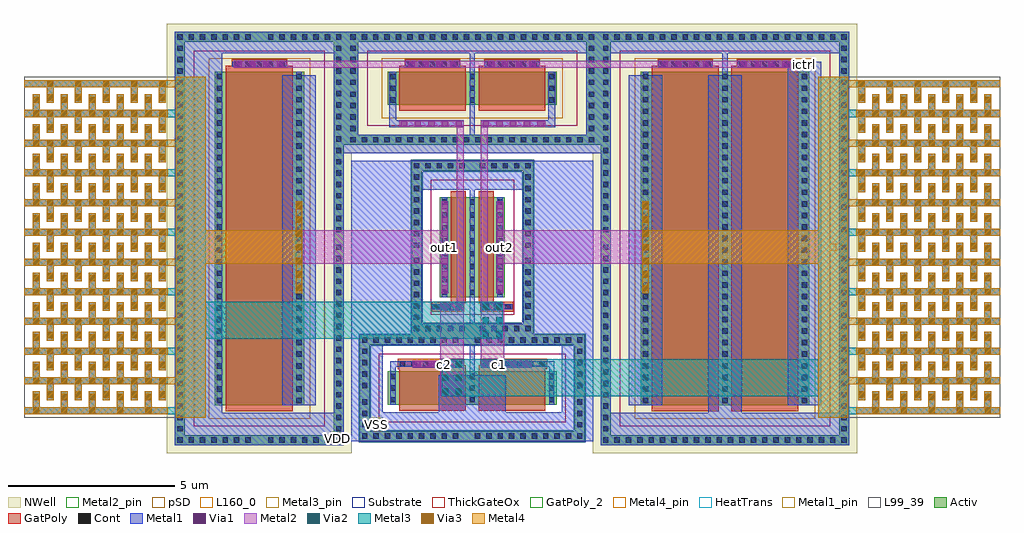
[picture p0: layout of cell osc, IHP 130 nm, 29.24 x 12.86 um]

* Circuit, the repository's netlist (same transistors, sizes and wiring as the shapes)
* NGSPICE file created from osc.ext - technology: ihp-sg13cmos5l

.subckt osc VSS VDD ictrl c2 c1 out1 out2
X0 VDD ictrl c2 VDD sg13_hv_pmos ad=0.19p pd=1.38u as=0.34p ps=2.68u w=1u l=2u
X1 VSS c2 out1 VSS sg13_hv_nmos ad=0.57p pd=3.38u as=1.02p ps=6.68u w=3u l=0.45u
X2 out1 ictrl VDD VDD sg13_hv_pmos ad=3.4p pd=20.68u as=3.4p ps=20.68u w=10u l=2u
X3 VSS c2 c2 VSS sg13_hv_nmos ad=0.19p pd=1.38u as=0.34p ps=2.68u w=1u l=2u
X4 VDD ictrl out2 VDD sg13_hv_pmos ad=1.9p pd=10.38u as=3.4p ps=20.68u w=10u l=2u
X5 ictrl ictrl VDD VDD sg13_hv_pmos ad=3.4p pd=20.68u as=1.9p ps=10.38u w=10u l=2u
X6 c1 ictrl VDD VDD sg13_hv_pmos ad=0.34p pd=2.68u as=0.19p ps=1.38u w=1u l=2u
X7 c1 c1 VSS VSS sg13_hv_nmos ad=0.34p pd=2.68u as=0.19p ps=1.38u w=1u l=2u
X8 out2 c1 VSS VSS sg13_hv_nmos ad=1.02p pd=6.68u as=0.57p ps=3.38u w=3u l=0.45u
.ends

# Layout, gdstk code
from math import pi, radians
import gdstk
lib = gdstk.Library(unit=1e-6, precision=1e-09)
def R(c, l, rs):  # rectangles x0, y0, x1, y1
    for r in rs: c.add(gdstk.rectangle(r[:2], r[2:], *l))
def A(c, l, x, y, w, h, nx, ny, dx, dy):  # array of equal rectangles
    R(c, l, [(x+i*dx, y+j*dy, x+i*dx+w, y+j*dy+h) for i in range(nx) for j in range(ny)])
def P(c, l, *ps):  # polygons
    for p in ps: c.add(gdstk.Polygon(p, *l))
Activ = (1, 0)
GatPoly = (5, 0)
GatPoly_2 = (5, 2)
Cont = (6, 0)
Metal1 = (8, 0)
Metal1_pin = (8, 2)
Metal2 = (10, 0)
Metal2_pin = (10, 2)
pSD = (14, 0)
Via1 = (19, 0)
Via2 = (29, 0)
Metal3 = (30, 0)
Metal3_pin = (30, 2)
NWell = (31, 0)
Substrate = (40, 0)
ThickGateOx = (44, 0)
Via3 = (49, 0)
Metal4 = (50, 0)
Metal4_pin = (50, 2)
HeatTrans = (51, 0)
L99_39 = (99, 39)
L160_0 = (160, 0)

pmoshv_3 = lib.new_cell('pmosHV$3')
A(pmoshv_3, Activ, 0, 0, 0.3, 0.3, 3, 1, 2.38, 0)
R(pmoshv_3, Activ, [(-1.19,-0.89,-0.89,1.89), (5.95,-0.89,6.25,1.89), (0,0,5.06,1), (-1.19,1.89,6.25,2.19)])
P(pmoshv_3, Activ, [(-1.19,-1.19),(-1.19,1.89),(-0.89,1.89),(-0.89,-0.89),(5.95,-0.89),(5.95,1.89),(-1.19,1.89),(-1.19,2.19),(6.25,2.19),(6.25,-1.19)])
R(pmoshv_3, GatPoly, [(0.34,-0.18,2.34,1.18), (2.72,-0.18,4.72,1.18)])
R(pmoshv_3, GatPoly_2, [(0.34,-0.18,2.34,1.18)])
A(pmoshv_3, Cont, -1.12, -1.12, 0.16, 0.16, 22, 2, 0.34, 3.08)
A(pmoshv_3, Cont, -1.12, -0.78, 0.16, 0.16, 1, 4, 0, 0.34)
A(pmoshv_3, Cont, 6.02, -0.78, 0.16, 0.16, 1, 4, 0, 0.34)
A(pmoshv_3, Cont, 0.07, 0.07, 0.16, 0.16, 3, 3, 2.38, 0.35)
A(pmoshv_3, Cont, -1.12, 0.6, 0.16, 0.16, 1, 4, 0, 0.34)
A(pmoshv_3, Cont, 6.02, 0.6, 0.16, 0.16, 1, 4, 0, 0.34)
A(pmoshv_3, Metal1, 0.07, 0, 0.16, 1, 3, 1, 2.38, 0)
R(pmoshv_3, Metal1, [(-1.19,-1.19,6.25,-0.89), (-1.19,-0.89,-0.89,1.89), (5.95,-0.89,6.25,1.89), (-1.19,1.89,6.25,2.19)])
R(pmoshv_3, Metal1_pin, [(0.07,0,0.23,1), (2.45,0,2.61,1)])
R(pmoshv_3, pSD, [(-0.18,-0.4,5.24,1.4)])
R(pmoshv_3, NWell, [(-1.43,-1.43,6.49,2.43), (-0.62,-0.62,5.68,1.62)])
R(pmoshv_3, ThickGateOx, [(-0.62,-0.62,5.68,1.62)])
R(pmoshv_3, HeatTrans, [(0.34,-0.18,2.34,1.18), (2.72,-0.18,4.72,1.18)])
pmoshv_3.add(gdstk.Label('pmosHV', (1.34,0.5), layer=63, texttype=0))
pmoshv_3.add(gdstk.Label('well', (2.53,-1.04), layer=63, texttype=0))
pmoshv_3.add(gdstk.Label('pmos', (1.34,0.5), layer=51, texttype=0))
pmoshv_3.add(gdstk.Label('pmos', (3.72,0.5), layer=51, texttype=0))

nmoshv = lib.new_cell('nmosHV')
A(nmoshv, Activ, 0, 0, 0.3, 0.3, 3, 1, 2.38, 0)
R(nmoshv, Activ, [(-0.84,-0.79,-0.54,1.79), (5.6,-0.79,5.9,1.79), (0,0,5.06,1), (-0.84,1.79,5.9,2.09)])
P(nmoshv, Activ, [(-0.84,-1.09),(-0.84,1.79),(-0.54,1.79),(-0.54,-0.79),(5.6,-0.79),(5.6,1.79),(-0.84,1.79),(-0.84,2.09),(5.9,2.09),(5.9,-1.09)])
R(nmoshv, GatPoly, [(0.34,-0.18,2.34,1.18), (2.72,-0.18,4.72,1.18)])
R(nmoshv, GatPoly_2, [(0.34,-0.18,2.34,1.18)])
A(nmoshv, Cont, -0.77, -1.02, 0.16, 0.16, 9, 2, 0.34, 2.88)
A(nmoshv, Cont, 2.61, -1.02, 0.16, 0.16, 10, 2, 0.34, 2.88)
A(nmoshv, Cont, -0.77, -0.68, 0.16, 0.16, 1, 3, 0, 0.34)
A(nmoshv, Cont, 5.67, -0.68, 0.16, 0.16, 1, 3, 0, 0.34)
A(nmoshv, Cont, 0.07, 0.07, 0.16, 0.16, 3, 3, 2.38, 0.35)
A(nmoshv, Cont, -0.77, 0.5, 0.16, 0.16, 1, 4, 0, 0.34)
A(nmoshv, Cont, 5.67, 0.5, 0.16, 0.16, 1, 4, 0, 0.34)
A(nmoshv, Metal1, 0.07, 0, 0.16, 1, 3, 1, 2.38, 0)
R(nmoshv, Metal1, [(-0.84,-1.09,5.9,-0.79), (-0.84,-0.79,-0.54,1.79), (5.6,-0.79,5.9,1.79), (-0.84,1.79,5.9,2.09)])
R(nmoshv, Metal1_pin, [(0.07,0,0.23,1), (2.45,0,2.61,1)])
R(nmoshv, pSD, [(-0.87,-0.76,-0.51,1.76), (5.57,-0.76,5.93,1.76), (-0.87,1.76,5.93,2.12)])
P(nmoshv, pSD, [(-0.87,-1.12),(-0.87,1.76),(-0.51,1.76),(-0.51,-0.76),(5.57,-0.76),(5.57,1.76),(-0.87,1.76),(-0.87,2.12),(5.93,2.12),(5.93,-1.12)])
R(nmoshv, Substrate, [(-0.87,-0.76,-0.51,1.76), (5.57,-0.76,5.93,1.76), (-0.87,1.76,5.93,2.12)])
P(nmoshv, Substrate, [(-0.87,-1.12),(-0.87,1.76),(-0.51,1.76),(-0.51,-0.76),(5.57,-0.76),(5.57,1.76),(-0.87,1.76),(-0.87,2.12),(5.93,2.12),(5.93,-1.12)])
R(nmoshv, ThickGateOx, [(-0.27,-0.52,5.33,1.52)])
R(nmoshv, HeatTrans, [(0.34,-0.18,2.34,1.18), (2.72,-0.18,4.72,1.18)])
nmoshv.add(gdstk.Label('nmosHV', (1.34,0.5), layer=63, texttype=0))
nmoshv.add(gdstk.Label('sub!', (2.53,-0.94), layer=63, texttype=0))
nmoshv.add(gdstk.Label('nmosHV', (1.34,0.5), layer=51, texttype=0))
nmoshv.add(gdstk.Label('nmosHV', (3.72,0.5), layer=51, texttype=0))

pmoshv_1 = lib.new_cell('pmosHV$1')
A(pmoshv_1, Activ, 0, 0, 0.3, 0.3, 3, 1, 2.38, 0)
R(pmoshv_1, Activ, [(-1.19,-0.89,-0.89,10.89), (5.95,-0.89,6.25,10.89), (0,0,5.06,10), (-1.19,10.89,6.25,11.19)])
P(pmoshv_1, Activ, [(-1.19,-1.19),(-1.19,10.89),(-0.89,10.89),(-0.89,-0.89),(5.95,-0.89),(5.95,10.89),(-1.19,10.89),(-1.19,11.19),(6.25,11.19),(6.25,-1.19)])
R(pmoshv_1, GatPoly, [(0.34,-0.18,2.34,10.18), (2.72,-0.18,4.72,10.18)])
R(pmoshv_1, GatPoly_2, [(0.34,-0.18,2.34,10.18)])
A(pmoshv_1, Cont, -1.12, -1.12, 0.16, 0.16, 22, 2, 0.34, 12.08)
A(pmoshv_1, Cont, -1.12, -0.78, 0.16, 0.16, 1, 17, 0, 0.34)
A(pmoshv_1, Cont, 6.02, -0.78, 0.16, 0.16, 1, 17, 0, 0.34)
A(pmoshv_1, Cont, 0.07, 0.07, 0.16, 0.16, 3, 4, 2.38, 0.345)
A(pmoshv_1, Cont, 0.07, 1.455, 0.16, 0.16, 3, 3, 2.38, 0.345)
A(pmoshv_1, Cont, 0.07, 2.495, 0.16, 0.16, 3, 4, 2.38, 0.345)
A(pmoshv_1, Cont, 0.07, 3.88, 0.16, 0.16, 3, 3, 2.38, 0.345)
A(pmoshv_1, Cont, 0.07, 4.92, 0.16, 0.16, 3, 4, 2.38, 0.345)
A(pmoshv_1, Cont, -1.12, 5.18, 0.16, 0.16, 1, 17, 0, 0.34)
A(pmoshv_1, Cont, 6.02, 5.18, 0.16, 0.16, 1, 17, 0, 0.34)
A(pmoshv_1, Cont, 0.07, 6.305, 0.16, 0.16, 3, 3, 2.38, 0.345)
A(pmoshv_1, Cont, 0.07, 7.345, 0.16, 0.16, 3, 4, 2.38, 0.345)
A(pmoshv_1, Cont, 0.07, 8.73, 0.16, 0.16, 3, 3, 2.38, 0.345)
A(pmoshv_1, Cont, 0.07, 9.77, 0.16, 0.16, 3, 1, 2.38, 0)
A(pmoshv_1, Metal1, 0.07, 0, 0.16, 10, 3, 1, 2.38, 0)
R(pmoshv_1, Metal1, [(-1.19,-1.19,6.25,-0.89), (-1.19,-0.89,-0.89,10.89), (5.95,-0.89,6.25,10.89), (-1.19,10.89,6.25,11.19)])
R(pmoshv_1, Metal1_pin, [(0.07,0,0.23,10), (2.45,0,2.61,10)])
R(pmoshv_1, pSD, [(-0.18,-0.4,5.24,10.4)])
R(pmoshv_1, NWell, [(-1.43,-1.43,6.49,11.43), (-0.62,-0.62,5.68,10.62)])
R(pmoshv_1, ThickGateOx, [(-0.62,-0.62,5.68,10.62)])
R(pmoshv_1, HeatTrans, [(0.34,-0.18,2.34,10.18), (2.72,-0.18,4.72,10.18)])
pmoshv_1.add(gdstk.Label('pmosHV', (1.34,5), layer=63, texttype=0))
pmoshv_1.add(gdstk.Label('well', (2.53,-1.04), layer=63, texttype=0))
pmoshv_1.add(gdstk.Label('pmos', (1.34,5), layer=51, texttype=0))
pmoshv_1.add(gdstk.Label('pmos', (3.72,5), layer=51, texttype=0))

cap_cmomi = lib.new_cell('cap_cmomi')
A(cap_cmomi, Metal1, -1.575, -5, 4.3, 0.21, 1, 12, 0, 0.89)
A(cap_cmomi, Metal1, -1.525, -4.895, 0.21, 0.575, 5, 11, 0.84, 0.89)
A(cap_cmomi, Metal1, -1.105, -4.58, 0.21, 0.575, 5, 11, 0.84, 0.89)
A(cap_cmomi, Metal2, -1.575, -5, 4.3, 0.21, 1, 12, 0, 0.89)
A(cap_cmomi, Metal2, -1.525, -4.895, 0.21, 0.575, 5, 11, 0.84, 0.89)
A(cap_cmomi, Metal2, -1.105, -4.58, 0.21, 0.575, 5, 11, 0.84, 0.89)
A(cap_cmomi, Via1, -1.515, -4.99, 0.19, 0.19, 5, 2, 0.84, 0.41)
A(cap_cmomi, Via1, -1.095, -4.51, 0.19, 0.19, 5, 11, 0.84, 0.89)
A(cap_cmomi, Via1, -1.515, -4.1, 0.19, 0.19, 10, 10, 0.42, 0.89)
A(cap_cmomi, Via1, -1.515, -3.69, 0.19, 0.19, 5, 10, 0.84, 0.89)
A(cap_cmomi, Via1, -1.095, 4.8, 0.19, 0.19, 5, 1, 0.84, 0)
A(cap_cmomi, Via2, -1.515, -4.99, 0.19, 0.19, 5, 2, 0.84, 0.41)
A(cap_cmomi, Via2, -1.095, -4.51, 0.19, 0.19, 5, 11, 0.84, 0.89)
A(cap_cmomi, Via2, -1.515, -4.1, 0.19, 0.19, 10, 10, 0.42, 0.89)
A(cap_cmomi, Via2, -1.515, -3.69, 0.19, 0.19, 5, 10, 0.84, 0.89)
A(cap_cmomi, Via2, -1.095, 4.8, 0.19, 0.19, 5, 1, 0.84, 0)
A(cap_cmomi, Metal3, -1.575, -5, 4.3, 0.21, 1, 6, 0, 1.78)
A(cap_cmomi, Metal3, -1.525, -4.895, 0.21, 0.575, 5, 11, 0.84, 0.89)
A(cap_cmomi, Metal3, -1.105, -4.58, 0.21, 0.575, 5, 11, 0.84, 0.89)
A(cap_cmomi, Metal3, -2.725, -4.11, 5.45, 0.21, 1, 6, 0, 1.78)
R(cap_cmomi, Metal3, [(-2.725,-5.105,-1.825,5.105)])
R(cap_cmomi, Metal3_pin, [(-2.375,-0.105,-2.175,0.105)])
A(cap_cmomi, Via3, -1.515, -4.99, 0.19, 0.19, 5, 2, 0.84, 0.41)
A(cap_cmomi, Via3, -1.095, -4.51, 0.19, 0.19, 5, 11, 0.84, 0.89)
A(cap_cmomi, Via3, -1.515, -4.1, 0.19, 0.19, 10, 10, 0.42, 0.89)
A(cap_cmomi, Via3, -1.515, -3.69, 0.19, 0.19, 5, 10, 0.84, 0.89)
A(cap_cmomi, Via3, -1.095, 4.8, 0.19, 0.19, 5, 1, 0.84, 0)
A(cap_cmomi, Metal4, -2.725, -5, 5.45, 0.21, 1, 6, 0, 1.78)
A(cap_cmomi, Metal4, -1.525, -4.895, 0.21, 0.575, 5, 11, 0.84, 0.89)
A(cap_cmomi, Metal4, -1.105, -4.58, 0.21, 0.575, 5, 11, 0.84, 0.89)
A(cap_cmomi, Metal4, -1.575, -4.11, 4.3, 0.21, 1, 6, 0, 1.78)
R(cap_cmomi, Metal4, [(-2.725,-5.105,-1.825,5.105)])
R(cap_cmomi, Metal4_pin, [(-2.375,-0.105,-2.175,0.105)])
R(cap_cmomi, L99_39, [(-2.725,-5.105,2.725,5.105)])
R(cap_cmomi, L160_0, [(-2.725,-5.105,2.725,5.105)])
cap_cmomi.add(gdstk.Label('C=46.569fF', (0.575,0), layer=63, texttype=0))
cap_cmomi.add(gdstk.Label('cap_cmomi', (0.575,0), layer=63, texttype=0))

via_stack_5 = lib.new_cell('via_stack$5')
R(via_stack_5, Metal1, [(-0.105,-0.76,0.105,0.76)])
R(via_stack_5, Metal2, [(-0.1,-0.76,0.1,0.76)])
A(via_stack_5, Via1, -0.095, -0.71, 0.19, 0.19, 1, 4, 0, 0.41)

via_stack = lib.new_cell('via_stack')
R(via_stack, GatPoly, [(-0.15,-1,0.15,1)])
A(via_stack, Cont, -0.08, -0.93, 0.16, 0.16, 1, 6, 0, 0.34)
R(via_stack, Metal1, [(-0.08,-0.98,0.08,0.98)])

nmoshv_3 = lib.new_cell('nmosHV$3')
A(nmoshv_3, Activ, 0, 0, 0.3, 0.3, 3, 1, 0.83, 0)
R(nmoshv_3, Activ, [(-0.84,-0.79,-0.54,3.79), (2.5,-0.79,2.8,3.79), (0,0,1.96,3), (-0.84,3.79,2.8,4.09)])
P(nmoshv_3, Activ, [(-0.84,-1.09),(-0.84,3.79),(-0.54,3.79),(-0.54,-0.79),(2.5,-0.79),(2.5,3.79),(-0.84,3.79),(-0.84,4.09),(2.8,4.09),(2.8,-1.09)])
R(nmoshv_3, GatPoly, [(0.34,-0.18,0.79,3.18), (1.17,-0.18,1.62,3.18)])
R(nmoshv_3, GatPoly_2, [(0.34,-0.18,0.79,3.18)])
A(nmoshv_3, Cont, -0.77, -1.02, 0.16, 0.16, 5, 2, 0.34, 4.88)
A(nmoshv_3, Cont, 1.21, -1.02, 0.16, 0.16, 5, 2, 0.34, 4.88)
A(nmoshv_3, Cont, -0.77, -0.68, 0.16, 0.16, 1, 6, 0, 0.34)
A(nmoshv_3, Cont, 2.57, -0.68, 0.16, 0.16, 1, 6, 0, 0.34)
A(nmoshv_3, Cont, 0.07, 0.07, 0.16, 0.16, 3, 7, 0.83, 0.385)
A(nmoshv_3, Cont, -0.77, 1.48, 0.16, 0.16, 1, 7, 0, 0.34)
A(nmoshv_3, Cont, 2.57, 1.48, 0.16, 0.16, 1, 7, 0, 0.34)
A(nmoshv_3, Cont, 0.07, 2.77, 0.16, 0.16, 3, 1, 0.83, 0)
A(nmoshv_3, Metal1, 0.07, 0, 0.16, 3, 3, 1, 0.83, 0)
R(nmoshv_3, Metal1, [(-0.84,-1.09,2.8,-0.79), (-0.84,-0.79,-0.54,3.79), (2.5,-0.79,2.8,3.79), (-0.84,3.79,2.8,4.09)])
R(nmoshv_3, Metal1_pin, [(0.07,0,0.23,3), (0.9,0,1.06,3)])
R(nmoshv_3, pSD, [(-0.87,-0.76,-0.51,3.76), (2.47,-0.76,2.83,3.76), (-0.87,3.76,2.83,4.12)])
P(nmoshv_3, pSD, [(-0.87,-1.12),(-0.87,3.76),(-0.51,3.76),(-0.51,-0.76),(2.47,-0.76),(2.47,3.76),(-0.87,3.76),(-0.87,4.12),(2.83,4.12),(2.83,-1.12)])
R(nmoshv_3, Substrate, [(-0.87,-0.76,-0.51,3.76), (2.47,-0.76,2.83,3.76), (-0.87,3.76,2.83,4.12)])
P(nmoshv_3, Substrate, [(-0.87,-1.12),(-0.87,3.76),(-0.51,3.76),(-0.51,-0.76),(2.47,-0.76),(2.47,3.76),(-0.87,3.76),(-0.87,4.12),(2.83,4.12),(2.83,-1.12)])
R(nmoshv_3, ThickGateOx, [(-0.27,-0.52,2.23,3.52)])
R(nmoshv_3, HeatTrans, [(0.34,-0.18,0.79,3.18), (1.17,-0.18,1.62,3.18)])
nmoshv_3.add(gdstk.Label('nmosHV', (0.565,1.5), layer=63, texttype=0))
nmoshv_3.add(gdstk.Label('sub!', (0.98,-0.94), layer=63, texttype=0))
nmoshv_3.add(gdstk.Label('nmosHV', (0.565,1.5), layer=51, texttype=0))
nmoshv_3.add(gdstk.Label('nmosHV', (1.395,1.5), layer=51, texttype=0))

via_stack_1 = lib.new_cell('via_stack$1')
R(via_stack_1, GatPoly, [(-0.15,-0.49,0.15,0.49)])
A(via_stack_1, Cont, -0.08, -0.42, 0.16, 0.16, 1, 3, 0, 0.34)
R(via_stack_1, Metal1, [(-0.08,-0.47,0.08,0.47)])

via_stack_2 = lib.new_cell('via_stack$2')
R(via_stack_2, Metal1, [(-1.375,-0.105,1.375,0.105)])
R(via_stack_2, Metal2, [(-1.375,-0.1,1.375,0.1)])
A(via_stack_2, Via1, -1.325, -0.095, 0.19, 0.19, 7, 1, 0.41, 0)

via_stack_11 = lib.new_cell('via_stack$11')
R(via_stack_11, Metal1, [(-0.965,-0.105,0.965,0.105)])
R(via_stack_11, Metal2, [(-0.965,-0.1,0.965,0.1)])
A(via_stack_11, Via1, -0.915, -0.095, 0.19, 0.19, 5, 1, 0.41, 0)

via_stack_12 = lib.new_cell('via_stack$12')
R(via_stack_12, Metal1, [(-1.375,-0.105,1.375,0.105)])
R(via_stack_12, Metal2, [(-1.375,-0.1,1.375,0.1)])
A(via_stack_12, Via1, -1.325, -0.095, 0.19, 0.19, 7, 1, 0.41, 0)
A(via_stack_12, Via2, -1.325, -0.095, 0.19, 0.19, 7, 1, 0.41, 0)
R(via_stack_12, Metal3, [(-1.375,-0.1,1.375,0.1)])
A(via_stack_12, Via3, -1.325, -0.095, 0.19, 0.19, 7, 1, 0.41, 0)
R(via_stack_12, Metal4, [(-1.375,-0.1,1.375,0.1)])

pmoshv = lib.new_cell('pmosHV')
R(pmoshv, Activ, [(-1.19,-0.89,-0.89,10.89), (3.57,-0.89,3.87,10.89), (0,0,0.3,0.3), (0,0,2.68,10), (2.38,0,2.68,0.3), (-1.19,10.89,3.87,11.19)])
P(pmoshv, Activ, [(-1.19,-1.19),(-1.19,10.89),(-0.89,10.89),(-0.89,-0.89),(3.57,-0.89),(3.57,10.89),(-1.19,10.89),(-1.19,11.19),(3.87,11.19),(3.87,-1.19)])
R(pmoshv, GatPoly, [(0.34,-0.18,2.34,10.18)])
R(pmoshv, GatPoly_2, [(0.34,-0.18,2.34,10.18)])
A(pmoshv, Cont, -1.12, -1.12, 0.16, 0.16, 7, 2, 0.34, 12.08)
A(pmoshv, Cont, 1.6, -1.12, 0.16, 0.16, 7, 2, 0.34, 12.08)
A(pmoshv, Cont, -1.12, -0.78, 0.16, 0.16, 1, 17, 0, 0.34)
A(pmoshv, Cont, 3.64, -0.78, 0.16, 0.16, 1, 17, 0, 0.34)
A(pmoshv, Cont, 0.07, 0.07, 0.16, 0.16, 1, 4, 0, 0.345)
A(pmoshv, Cont, 2.45, 0.07, 0.16, 0.16, 1, 4, 0, 0.345)
A(pmoshv, Cont, 0.07, 1.455, 0.16, 0.16, 1, 3, 0, 0.345)
A(pmoshv, Cont, 2.45, 1.455, 0.16, 0.16, 1, 3, 0, 0.345)
A(pmoshv, Cont, 0.07, 2.495, 0.16, 0.16, 1, 4, 0, 0.345)
A(pmoshv, Cont, 2.45, 2.495, 0.16, 0.16, 1, 4, 0, 0.345)
A(pmoshv, Cont, 0.07, 3.88, 0.16, 0.16, 1, 3, 0, 0.345)
A(pmoshv, Cont, 2.45, 3.88, 0.16, 0.16, 1, 3, 0, 0.345)
A(pmoshv, Cont, 0.07, 4.92, 0.16, 0.16, 1, 4, 0, 0.345)
A(pmoshv, Cont, 2.45, 4.92, 0.16, 0.16, 1, 4, 0, 0.345)
A(pmoshv, Cont, -1.12, 5.18, 0.16, 0.16, 1, 17, 0, 0.34)
A(pmoshv, Cont, 3.64, 5.18, 0.16, 0.16, 1, 17, 0, 0.34)
A(pmoshv, Cont, 0.07, 6.305, 0.16, 0.16, 1, 3, 0, 0.345)
A(pmoshv, Cont, 2.45, 6.305, 0.16, 0.16, 1, 3, 0, 0.345)
A(pmoshv, Cont, 0.07, 7.345, 0.16, 0.16, 1, 4, 0, 0.345)
A(pmoshv, Cont, 2.45, 7.345, 0.16, 0.16, 1, 4, 0, 0.345)
A(pmoshv, Cont, 0.07, 8.73, 0.16, 0.16, 1, 3, 0, 0.345)
A(pmoshv, Cont, 2.45, 8.73, 0.16, 0.16, 1, 3, 0, 0.345)
R(pmoshv, Cont, [(0.07,9.77,0.23,9.93), (2.45,9.77,2.61,9.93)])
R(pmoshv, Metal1, [(-1.19,-1.19,3.87,-0.89), (-1.19,-0.89,-0.89,10.89), (3.57,-0.89,3.87,10.89), (0.07,0,0.23,10), (2.45,0,2.61,10), (-1.19,10.89,3.87,11.19)])
R(pmoshv, Metal1_pin, [(0.07,0,0.23,10), (2.45,0,2.61,10)])
R(pmoshv, pSD, [(-0.18,-0.4,2.86,10.4)])
R(pmoshv, NWell, [(-1.43,-1.43,4.11,11.43), (-0.62,-0.62,3.3,10.62)])
R(pmoshv, ThickGateOx, [(-0.62,-0.62,3.3,10.62)])
R(pmoshv, HeatTrans, [(0.34,-0.18,2.34,10.18)])
pmoshv.add(gdstk.Label('pmosHV', (1.34,5), layer=63, texttype=0))
pmoshv.add(gdstk.Label('well', (1.34,-1.04), layer=63, texttype=0))
pmoshv.add(gdstk.Label('pmos', (1.34,5), layer=51, texttype=0))

via_stack_9 = lib.new_cell('via_stack$9')
R(via_stack_9, Metal1, [(-0.76,-0.105,0.76,0.105)])
R(via_stack_9, Metal2, [(-0.76,-0.1,0.76,0.1)])
A(via_stack_9, Via1, -0.71, -0.095, 0.19, 0.19, 4, 1, 0.41, 0)

via_stack_6 = lib.new_cell('via_stack$6')
R(via_stack_6, GatPoly, [(-0.15,-0.83,0.15,0.83)])
A(via_stack_6, Cont, -0.08, -0.76, 0.16, 0.16, 1, 5, 0, 0.34)
R(via_stack_6, Metal1, [(-0.08,-0.81,0.08,0.81)])

via_stack_4 = lib.new_cell('via_stack$4')
R(via_stack_4, Metal1, [(-0.105,-0.35,0.105,0.35)])
R(via_stack_4, Metal2, [(-0.1,-0.35,0.1,0.35)])
R(via_stack_4, Via1, [(-0.095,-0.3,0.095,-0.11), (-0.095,0.11,0.095,0.3)])

via_stack_7 = lib.new_cell('via_stack$7')
R(via_stack_7, Metal2, [(-0.555,-0.305,0.555,0.305)])
A(via_stack_7, Via2, -0.505, -0.3, 0.19, 0.19, 3, 2, 0.41, 0.41)
R(via_stack_7, Metal3, [(-0.555,-0.305,0.555,0.305)])

osc = lib.new_cell('osc')
R(osc, Activ, [(17.76,3.54,21.4,3.58), (15.73,9.24,15.86,12.62), (23.3,9.24,23.43,12.62)])
R(osc, Metal1, [(15.95,0.36,16.9,3.54), (22.26,0.36,23.21,3.54), (10.97,0.54,12.09,12.32), (12.09,0.54,15.43,1.21), (23.73,0.54,30.57,1.21), (27.07,0.54,27.23,12.32), (16.51,0.66,22.65,1.23), (19.5,0.66,19.66,3.24), (18.58,1.23,20.58,2.34), (15.95,3.54,17.76,8.76), (17.76,3.54,21.4,3.58), (21.4,3.54,23.21,8.76), (19.5,3.88,19.66,8.46), (18.06,7.89,21.1,8.46), (15.73,8.98,23.43,9.24), (15.73,9.24,15.86,12.62), (23.3,9.24,23.43,12.62), (19.5,9.54,19.66,12.32), (10.97,11.98,30.57,12.32)])
R(osc, Metal1_pin, [(15.33,0.24,15.73,0.64), (16.51,0.66,16.91,1.06), (29.45,11.57,29.61,11.73)])
R(osc, Metal2, [(18.62,1.705,19.32,4.285), (19.84,2.77,20.54,4.285)])
R(osc, Metal2_pin, [(18.65,2.57,18.85,2.77), (20.31,2.57,20.51,2.77), (18.65,6.07,18.85,6.27), (20.31,6.07,20.51,6.27)])
R(osc, Metal3, [(19.27,1.705,29.94,2.815), (11.6,3.42,19.885,4.53)])
osc.add(gdstk.FlexPath([(20.51,6.17),(24.67,6.17)], 1, ends="flush", simple_path=True, layer=10, datatype=0))  # Metal2
osc.add(gdstk.FlexPath([(18.65,6.17),(14.49,6.17)], 1, ends="flush", simple_path=True, layer=10, datatype=0))  # Metal2
osc.add(gdstk.FlexPath([(19.22,9.77),(19.22,4.485)], 0.2, ends="flush", simple_path=True, layer=10, datatype=0))  # Metal2
osc.add(gdstk.FlexPath([(19.94,9.765),(19.94,4.485)], 0.2, ends="flush", simple_path=True, layer=10, datatype=0))  # Metal2
osc.add(gdstk.FlexPath([(13.96,11.65),(27.58,11.65)], 0.2, ends="flush", simple_path=True, layer=10, datatype=0))  # Metal2
osc.add(gdstk.FlexPath([(20.95,9.865),(21.96,9.865),(21.96,11.43)], 0.21, ends="flush", simple_path=True, layer=8, datatype=0))  # Metal1
osc.add(gdstk.FlexPath([(18.21,9.865),(17.2,9.865),(17.2,11.43)], 0.21, ends="flush", simple_path=True, layer=8, datatype=0))  # Metal1
osc.add(gdstk.FlexPath([(24.77,11.32),(24.77,1.43)], 1, ends="flush", simple_path=True, layer=8, datatype=0))  # Metal1
osc.add(gdstk.FlexPath([(27.15,1.21),(27.15,11.32)], 1, ends="flush", simple_path=True, layer=8, datatype=0))  # Metal1
osc.add(gdstk.FlexPath([(29.53,11.73),(29.53,1.43)], 1, ends="flush", simple_path=True, layer=8, datatype=0))  # Metal1
osc.add(gdstk.FlexPath([(14.39,1.43),(14.39,11.32)], 1, ends="flush", simple_path=True, layer=8, datatype=0))  # Metal1
osc.add(gdstk.FlexPath([(17.2,2.45),(17.2,2.67),(17.36,2.67)], 0.16, ends="flush", simple_path=True, layer=8, datatype=0))  # Metal1
osc.add(gdstk.FlexPath([(21.96,2.45),(21.96,2.67),(21.8,2.67)], 0.16, ends="flush", simple_path=True, layer=8, datatype=0))  # Metal1
osc.add(gdstk.FlexPath([(29.15,11.65),(29.53,11.65),(29.53,11.43)], 0.16, ends="flush", simple_path=True, layer=8, datatype=0))  # Metal1
osc.add(gdstk.FlexPath([(14.29,6.17),(11.6,6.17)], 1, ends="flush", simple_path=True, layer=50, datatype=0))  # Metal4
osc.add(gdstk.FlexPath([(24.87,6.17),(29.94,6.17)], 1, ends="flush", simple_path=True, layer=50, datatype=0))  # Metal4
osc.add(gdstk.Reference(pmoshv_3, (17.05,10.43)))
osc.add(gdstk.Reference(nmoshv, (17.05,1.45)))
osc.add(gdstk.Reference(pmoshv_1, (24.62,1.43)))
osc.add(gdstk.Reference(cap_cmomi, (32.665,6.17), x_reflection=True))
osc.add(gdstk.Reference(cap_cmomi, (8.875,6.17), rotation=pi))
osc.add(gdstk.Reference(via_stack_5, (18.56,2.67), rotation=pi/2))
osc.add(gdstk.Reference(via_stack, (20.82,2.67), rotation=pi/2, x_reflection=True))
osc.add(gdstk.Reference(nmoshv_3, (18.6,4.67)))
osc.add(gdstk.Reference(via_stack_1, (18.85,4.385), rotation=pi/2))
osc.add(gdstk.Reference(via_stack_2, (18.75,6.17), rotation=pi/2))
osc.add(gdstk.Reference(via_stack_2, (20.41,6.17), rotation=pi/2))
osc.add(gdstk.Reference(via_stack_1, (20.31,4.385), rotation=pi/2, x_reflection=True))
osc.add(gdstk.Reference(via_stack_5, (20.6,2.67), rotation=pi/2, x_reflection=True))
osc.add(gdstk.Reference(via_stack_11, (18.355,9.865)))
osc.add(gdstk.Reference(via_stack_11, (20.805,9.865), rotation=pi, x_reflection=True))
osc.add(gdstk.Reference(via_stack_12, (14.39,6.17), rotation=pi/2))
osc.add(gdstk.Reference(pmoshv, (11.86,1.43)))
osc.add(gdstk.Reference(via_stack_12, (24.77,6.17), rotation=pi/2, x_reflection=True))
osc.add(gdstk.Reference(via_stack_9, (20.77,11.65), rotation=pi, x_reflection=True))
osc.add(gdstk.Reference(via_stack_9, (18.39,11.65)))
osc.add(gdstk.Reference(via_stack_6, (20.77,11.65), rotation=pi/2))
osc.add(gdstk.Reference(via_stack_6, (18.39,11.65), rotation=pi/2))
osc.add(gdstk.Reference(via_stack_9, (13.2,11.65)))
osc.add(gdstk.Reference(via_stack_6, (13.2,11.65), rotation=pi/2))
osc.add(gdstk.Reference(via_stack_9, (28.34,11.65), rotation=pi, x_reflection=True))
osc.add(gdstk.Reference(via_stack_9, (25.96,11.65)))
osc.add(gdstk.Reference(via_stack_6, (28.34,11.65), rotation=pi/2))
osc.add(gdstk.Reference(via_stack_6, (25.96,11.65), rotation=pi/2))
osc.add(gdstk.Reference(via_stack_4, (20.19,4.385), rotation=pi/2, x_reflection=True))
osc.add(gdstk.Reference(via_stack_4, (18.97,4.385), rotation=pi/2))
osc.add(gdstk.Reference(via_stack, (18.34,2.67), rotation=pi/2))
osc.add(gdstk.Reference(via_stack_7, (18.97,2.26), rotation=pi/2))
osc.add(gdstk.Reference(via_stack_7, (20.19,3.975), rotation=pi/2))
osc.add(gdstk.Label('VSS', (16.71,0.86), layer=8, texttype=25))
osc.add(gdstk.Label('VDD', (15.53,0.44), layer=8, texttype=25))
osc.add(gdstk.Label('ictrl', (29.53,11.65), layer=8, texttype=25))
osc.add(gdstk.Label('c2', (18.75,2.67), layer=10, texttype=25))
osc.add(gdstk.Label('c1', (20.41,2.67), layer=10, texttype=25))
osc.add(gdstk.Label('out1', (18.75,6.17), layer=10, texttype=25))
osc.add(gdstk.Label('out2', (20.41,6.17), layer=10, texttype=25))

lib.write_gds('osc.gds')
